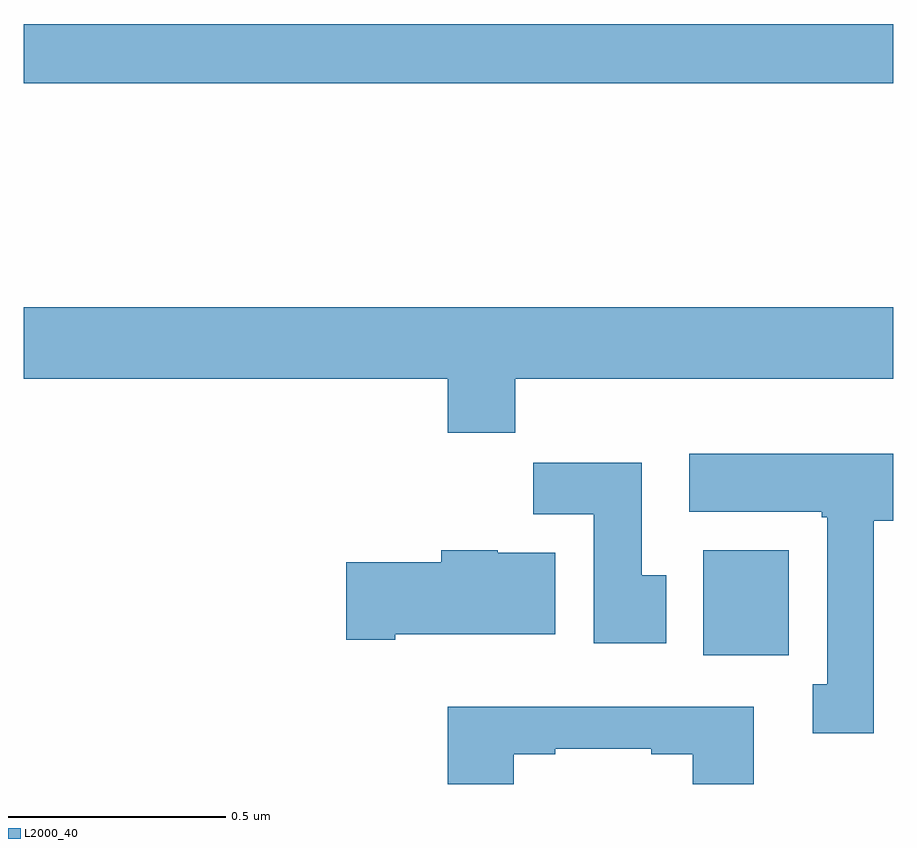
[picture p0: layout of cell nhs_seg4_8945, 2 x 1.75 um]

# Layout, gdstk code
import gdstk
lib = gdstk.Library(unit=1e-6, precision=1e-09)
def R(c, l, rs):  # rectangles x0, y0, x1, y1
    for r in rs: c.add(gdstk.rectangle(r[:2], r[2:], *l))
def P(c, l, *ps):  # polygons
    for p in ps: c.add(gdstk.Polygon(p, *l))
L2000_40 = (2000, 40)

nhs_seg4_8945 = lib.new_cell('nhs_seg4_8945')
R(nhs_seg4_8945, L2000_40, [(222.563,784.196,222.76,784.438), (221,785.512,223,785.648)])
P(nhs_seg4_8945, L2000_40, [(222.131,784.832),(223,784.832),(223,784.996),(221,784.996),(221,784.832),(221.975,784.832),(221.975,784.708),(222.131,784.708)],
  [(222.955,784.506),(223,784.506),(223,784.66),(222.531,784.66),(222.531,784.526),(222.835,784.526),(222.835,784.513),(222.848,784.513),(222.848,784.13),(222.815,784.13),(222.815,784.017),(222.955,784.017)],
  [(222.478,784.38),(222.421,784.38),(222.421,784.639),(222.172,784.639),(222.172,784.52),(222.311,784.52),(222.311,784.224),(222.478,784.224)],
  [(221.854,784.244),(222.223,784.244),(222.223,784.432),(222.09,784.432),(222.09,784.438),(221.96,784.438),(221.96,784.41),(221.742,784.41),(221.742,784.232),(221.854,784.232)],
  [(222.127,783.969),(222.223,783.969),(222.223,783.981),(222.443,783.981),(222.443,783.969),(222.539,783.969),(222.539,783.9),(222.679,783.9),(222.679,784.078),(221.975,784.078),(221.975,783.9),(222.127,783.9)])

lib.write_gds('nhs_seg4_8945.gds')
